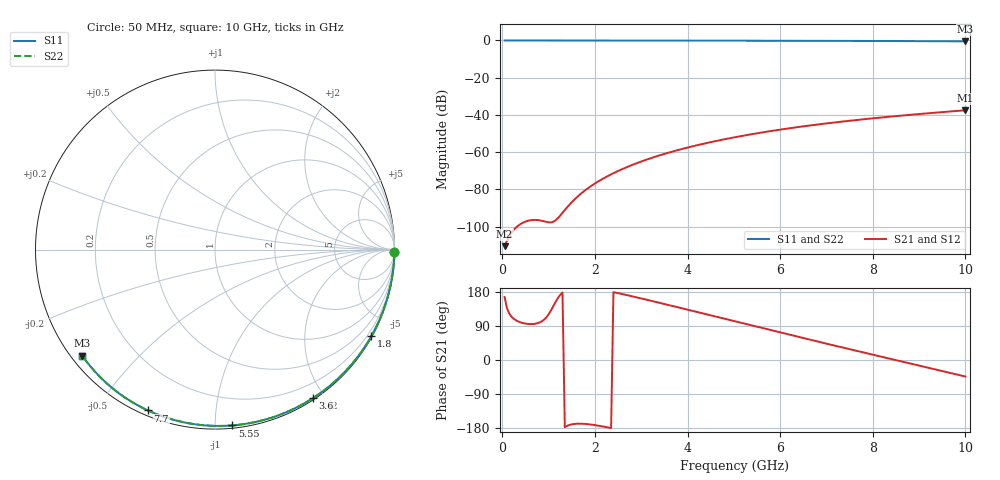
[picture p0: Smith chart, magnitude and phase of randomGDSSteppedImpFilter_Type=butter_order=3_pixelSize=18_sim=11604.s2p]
! freq	dB(S11)	phase(S11)	dB(S12)	phase(S12)
!  dB(S21)	phase(S21)	dB(S22)	phase(S22)
!S-par simulation data
#  GHz  S  DB  R 50
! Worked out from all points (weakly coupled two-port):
!   200 points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, 50 MHz to 10 GHz, reference 50 ohm
!   highest |S21| = -37.52 dB at 10 GHz (marker M1); lowest = -110.5 dB at 50 MHz (marker M2)
!   lowest |S11| = -0.5 dB at 10 GHz (marker M3), VSWR 36.60, Z = 1.53 - j17.5 ohm
!   |S11| at or under -10 dB: nowhere
!   |S22| runs from -0.5 to 0.0 dB; largest |S21 - S12| = 0
!   S11 on the Smith chart (normalised r, x): 50 MHz: open; 1.8 GHz: 0.03, -3.87; 3.6 GHz: 0.02, -1.86; 5.55 GHz: 0.02, -1.10; 7.7 GHz: 0.02, -0.67; 10 GHz: 0.03, -0.35
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0.05  -0.00 -0.8  -110.54 166.1  -110.54 166.1  -0.00 -0.8
0.45  -0.01 -7.4  -97.86 97.4  -97.86 97.4  -0.01 -7.4
0.9  -0.02 -14.6  -97.18 106.3  -97.18 106.3  -0.02 -14.6
1.3  -0.03 -21.0  -92.62 178.1  -92.62 178.1  -0.03 -21.0
1.75  -0.04 -28.2  -81.27 -168.4  -81.27 -168.4  -0.04 -28.2
1.8  -0.04 -29.0  -80.31 -168.8  -80.31 -168.8  -0.04 -29.0
1.85  -0.04 -29.8  -79.39 -169.4  -79.39 -169.4  -0.04 -29.8
2.05  -0.04 -32.9  -76.08 -172.8  -76.08 -172.8  -0.04 -32.9
2.2  -0.04 -35.2  -73.91 -176.0  -73.91 -176.0  -0.04 -35.2
2.55  -0.05 -40.7  -69.56 175.1  -69.56 175.1  -0.05 -40.7
2.95  -0.06 -46.8  -65.51 163.9  -65.51 163.9  -0.06 -46.8
3.4  -0.07 -53.6  -61.72 150.8  -61.72 150.8  -0.07 -53.6
3.6  -0.08 -56.6  -60.23 144.8  -60.23 144.8  -0.08 -56.6
4.3  -0.09 -66.8  -55.75 123.8  -55.75 123.8  -0.09 -66.8
5.05  -0.12 -77.4  -51.87 101.2  -51.87 101.2  -0.12 -77.4
5.55  -0.14 -84.3  -49.68 86.2  -49.68 86.2  -0.14 -84.3
6.1  -0.16 -91.8  -47.54 69.7  -47.54 69.7  -0.16 -91.8
6.7  -0.19 -99.7  -45.50 51.9  -45.50 51.9  -0.19 -99.7
7.7  -0.26 -112.6  -42.62 22.7  -42.62 22.7  -0.26 -112.6
8.35  -0.31 -120.8  -41.00 4.0  -41.00 4.0  -0.31 -120.8
9.2  -0.39 -131.4  -39.12 -20.3  -39.12 -20.3  -0.39 -131.4
10  -0.47 -141.4  -37.52 -43.6  -37.52 -43.6  -0.47 -141.4
